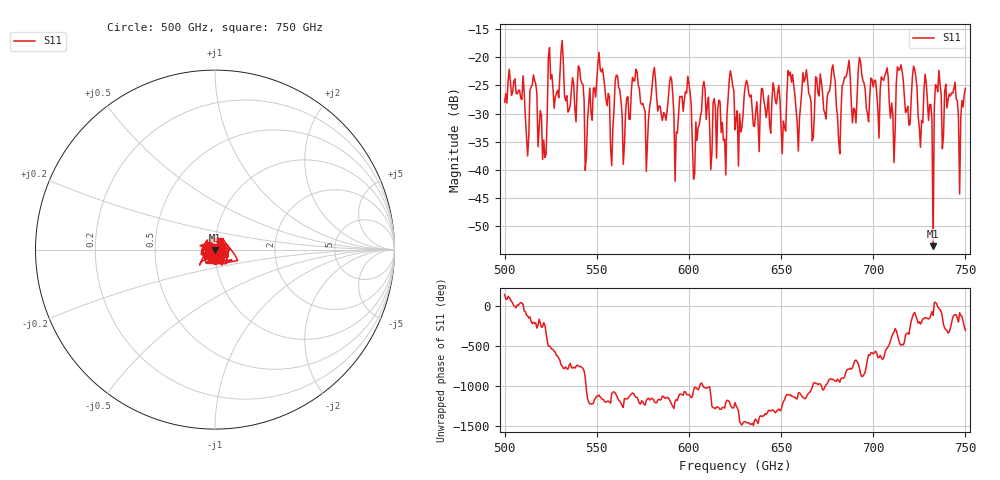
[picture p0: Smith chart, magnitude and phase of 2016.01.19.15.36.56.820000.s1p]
!Created with skrf (http://scikit-rf.org).
# GHz S RI R 50.0
!freq ReS11 ImS11
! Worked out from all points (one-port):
!   401 points, 500 GHz to 750 GHz, reference 50 ohm
!   lowest |S11| = -53.5 dB at 732.5 GHz (marker M1), VSWR 1.00, Z = 49.9 - j0.196 ohm
!   |S11| at or under -10 dB: start of sweep to end of sweep
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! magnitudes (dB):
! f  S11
! 500 GHz  -28.0
! 512.5 GHz  -37.5
! 515.6 GHz  -23.1
! 521.9 GHz  -37.8
! 524.4 GHz  -18.3
! 531.2 GHz  -17.0
! 544.4 GHz  -37.5
! 551.9 GHz  -22.1
! 558.1 GHz  -39.2
! 562.5 GHz  -25.7
! 576.9 GHz  -40.2
! 590 GHz  -23.4
! 593.8 GHz  -33.5
! 625 GHz  -32.9
! 651.2 GHz  -31.3
! 656.2 GHz  -23.1
! 659.4 GHz  -36.6
! 678.1 GHz  -21.4
! 681.2 GHz  -35.0
! 687.5 GHz  -23.4
! 706.9 GHz  -22.8
! 710.6 GHz  -30.1
! 714.4 GHz  -22.2
! 718.8 GHz  -28.7
! 722.5 GHz  -22.2
! 732.5 GHz  -53.5
! 735 GHz  -26.1
! 750 GHz  -25.5
